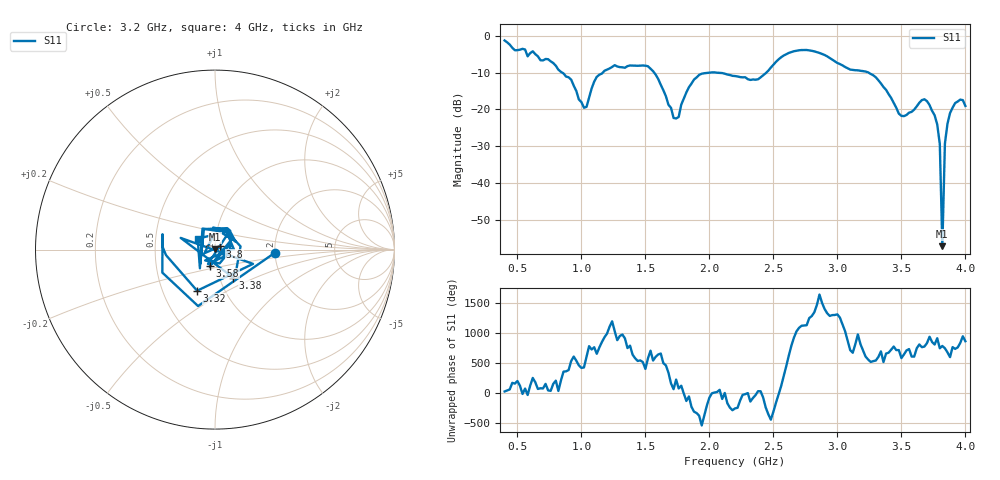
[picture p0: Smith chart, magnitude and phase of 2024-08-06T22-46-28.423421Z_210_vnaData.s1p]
!Created with skrf (http://scikit-rf.org).
# Hz S RI R 50.0
!freq ReS11 ImS11
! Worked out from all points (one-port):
!   181 points, 400 MHz to 4 GHz, reference 50 ohm
!   lowest |S11| = -57.2 dB at 3.82 GHz (marker M1), VSWR 1.00, Z = 50 + j0.13 ohm
!   |S11| at or under -10 dB: 1.569 GHz to 1.99 GHz (420.5 MHz wide, 23.6 % of centre); 2.063 GHz to 2.444 GHz (380.1 MHz wide, 16.9 % of centre); 3.245 GHz to end of sweep (the widest 3 of 4)
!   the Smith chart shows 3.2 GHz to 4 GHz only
!   S11 on the Smith chart (normalised r, x): 3.2 GHz: 1.99, -0.08; 3.32 GHz: 0.74, -0.36; 3.38 GHz: 1.16, -0.37; 3.58 GHz: 0.93, -0.17; 3.8 GHz: 1.06, +0.04; 4 GHz: 0.82, +0.09
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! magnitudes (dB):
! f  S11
! 400 MHz  -1.2
! 860 MHz  -10.2
! 1.02 GHz  -19.5
! 1.12 GHz  -11.1
! 1.3 GHz  -8.5
! 1.52 GHz  -8.2
! 1.72 GHz  -22.3
! 1.76 GHz  -22.0
! 1.82 GHz  -15.4
! 1.92 GHz  -10.6
! 2.2 GHz  -10.9
! 2.38 GHz  -11.8
! 2.66 GHz  -4.1
! 3.1 GHz  -9.1
! 3.2 GHz  -9.6
! 3.32 GHz  -12.0
! 3.38 GHz  -14.6
! 3.48 GHz  -21.1
! 3.56 GHz  -20.9
! 3.58 GHz  -20.6
! 3.7 GHz  -17.7
! 3.76 GHz  -21.6
! 3.8 GHz  -29.4
! 3.82 GHz  -57.2
! 3.84 GHz  -29.3
! 3.86 GHz  -23.9
! 3.92 GHz  -18.3
! 4 GHz  -19.0
